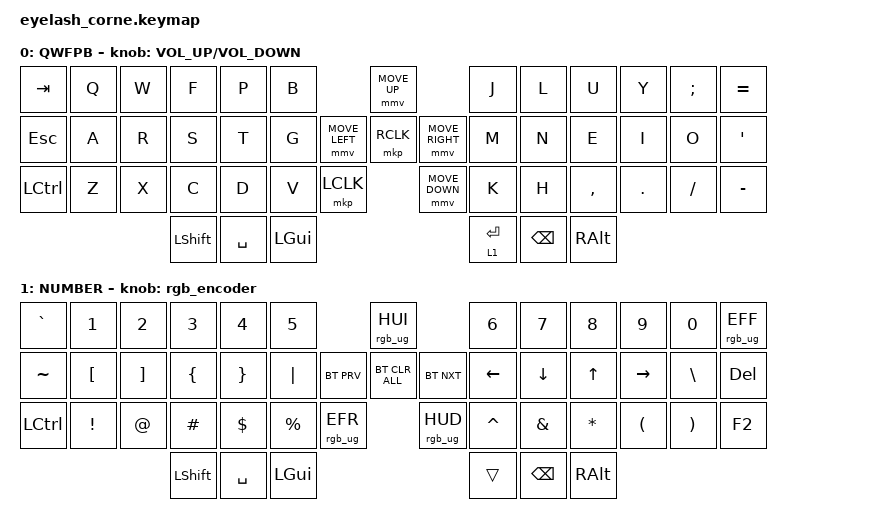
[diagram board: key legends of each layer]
#define ZMK_POINTING_DEFAULT_MOVE_VAL 1200  // 600
#define ZMK_POINTING_DEFAULT_SCRL_VAL 25   // 10

#include <input/processors.dtsi>
#include <zephyr/dt-bindings/input/input-event-codes.h>
#include <behaviors.dtsi>
#include <dt-bindings/zmk/bt.h>
#include <dt-bindings/zmk/keys.h>
#include <dt-bindings/zmk/pointing.h>
#include <dt-bindings/zmk/rgb.h>

&mmv_input_listener { input-processors = <&zip_xy_scaler 2 1>; };

&msc_input_listener { input-processors = <&zip_scroll_scaler 2 1>; };

&msc {
    acceleration-exponent = <1>;      // 0
    time-to-max-speed-ms = <100>;       // 300
    delay-ms = <0>;                   // 0
};

&mmv {
    time-to-max-speed-ms = <500>;
    acceleration-exponent = <1>;
    trigger-period-ms = <16>;
};

&soft_off { hold-time-ms = <2000>; };

/ {
    behaviors {
        td0: td0 {
            compatible = "zmk,behavior-tap-dance";
            display-name = "Shift/Caps Lock Tap Dance";
            #binding-cells = <0>;
            bindings = <&kp LEFT_SHIFT>, <&kp CAPS>;
        };
    };

    rgb_encoder: rgb_encoder {
        compatible = "zmk,behavior-sensor-rotate";
        #sensor-binding-cells = <0>;
        bindings = <&rgb_ug RGB_BRI>, <&rgb_ug RGB_BRD>;
    };

    scroll_encoder: scroll_encoder {
        compatible = "zmk,behavior-sensor-rotate";
        #sensor-binding-cells = <0>;
        bindings = <&msc SCRL_DOWN>, <&msc SCRL_UP>;

        tap-ms = <100>;
    };

    combos {
        compatible = "zmk,combos";

        softoff {
            bindings = <&soft_off>;
            key-positions = <1 15 29>;
        };
    };

    keymap {
        compatible = "zmk,keymap";

        default_layer {
            display-name = "QWFPB";
            bindings = <
&kp TAB           &kp Q  &kp W  &kp F           &kp P      &kp B                                      &mmv MOVE_UP                     &kp J        &kp L          &kp U      &kp Y    &kp SEMICOLON  &kp EQUAL
&kp ESCAPE        &kp A  &kp R  &kp S           &kp T      &kp G                      &mmv MOVE_LEFT  &mkp RCLK       &mmv MOVE_RIGHT  &kp M        &kp N          &kp E      &kp I    &kp O          &kp SQT
&kp LEFT_CONTROL  &kp Z  &kp X  &kp C           &kp D      &kp V         &mkp LCLK                    &mmv MOVE_DOWN                   &kp K        &kp H          &kp COMMA  &kp DOT  &kp FSLH       &kp MINUS
                                &kp LEFT_SHIFT  &kp SPACE  &kp LEFT_GUI                                                                &lt 1 ENTER  &kp BACKSPACE  &kp RALT
            >;

            sensor-bindings = <&inc_dec_kp C_VOLUME_UP C_VOLUME_DOWN>;
        };

        lower_layer {
            display-name = "NUMBER";
            bindings = <
&kp GRAVE         &kp N1            &kp N2             &kp N3          &kp N4           &kp N5                                       &rgb_ug RGB_HUI              &kp N6     &kp N7         &kp N8         &kp N9                &kp N0                 &rgb_ug RGB_EFF
&kp TILDE         &kp LEFT_BRACKET  &kp RIGHT_BRACKET  &kp LEFT_BRACE  &kp RIGHT_BRACE  &kp PIPE                         &bt BT_PRV  &bt BT_CLR_ALL   &bt BT_NXT  &kp LEFT   &kp DOWN       &kp UP         &kp RIGHT             &kp BACKSLASH          &kp DELETE
&kp LEFT_CONTROL  &kp EXCLAMATION   &kp AT_SIGN        &kp HASH        &kp DOLLAR       &kp PERCENT   &rgb_ug RGB_EFR                &rgb_ug RGB_HUD              &kp CARET  &kp AMPERSAND  &kp ASTERISK   &kp LEFT_PARENTHESIS  &kp RIGHT_PARENTHESIS  &kp F2
                                                       &kp LEFT_SHIFT  &kp SPACE        &kp LEFT_GUI                                                              &trans     &kp BACKSPACE  &kp RIGHT_ALT
            >;

            sensor-bindings = <&rgb_encoder>;
        };
    };
};
